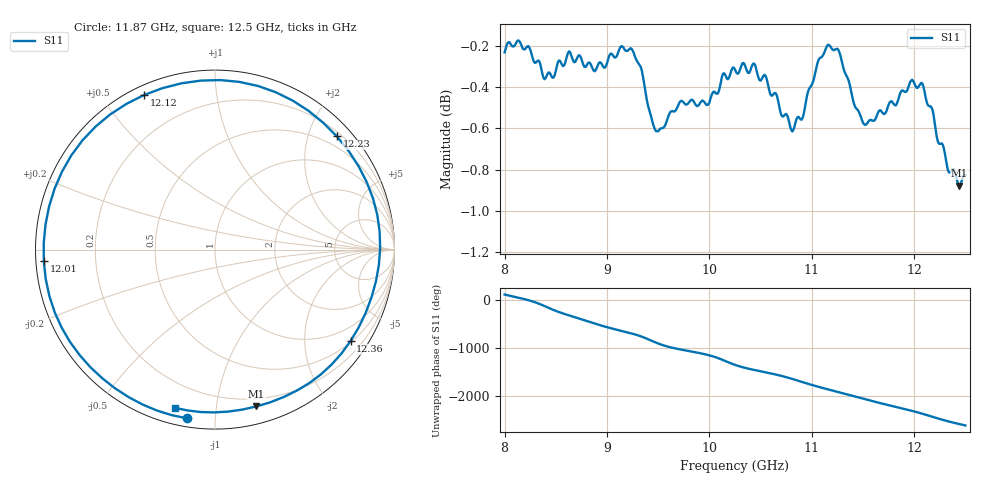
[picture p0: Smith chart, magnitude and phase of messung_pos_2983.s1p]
#  HZ  S  RI  R  50.00
! Rohde & Schwarz Vector Network Analyzer
! Rohde-Schwarz,ZNA43-4Port,1332450044101932,2.92
! Created: UTC 6/1/2026, 11:34:59 AM
! freq[Hz]  re:S11  im:S11
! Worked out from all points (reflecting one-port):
!   451 points, 8 GHz to 12.5 GHz, reference 50 ohm
!   lowest |S11| = -0.9 dB at 12.44 GHz (marker M1), VSWR 19.80, Z = 6.75 - j64.4 ohm
!   phase of S11 starts at 109 deg and turns -2733 deg over the sweep
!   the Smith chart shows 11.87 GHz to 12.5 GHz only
!   S11 on the Smith chart (normalised r, x): 11.87 GHz: 0.04, -0.84; 12.01 GHz: 0.02, -0.03; 12.12 GHz: 0.04, +0.64; 12.23 GHz: 0.28, +2.51; 12.36 GHz: 0.53, -3.19; 12.5 GHz: 0.08, -0.77
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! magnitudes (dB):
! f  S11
! 8 GHz  -0.2
! 8.23 GHz  -0.2
! 8.39 GHz  -0.4
! 8.57 GHz  -0.3
! 8.63 GHz  -0.2
! 8.88 GHz  -0.3
! 9.13 GHz  -0.2
! 9.32 GHz  -0.3
! 9.48 GHz  -0.6
! 9.69 GHz  -0.5
! 9.98 GHz  -0.5
! 10.25 GHz  -0.3
! 10.44 GHz  -0.3
! 10.82 GHz  -0.6
! 10.91 GHz  -0.5
! 11.06 GHz  -0.3
! 11.16 GHz  -0.2
! 11.26 GHz  -0.2
! 11.38 GHz  -0.4
! 11.52 GHz  -0.6
! 11.87 GHz  -0.4
! 11.94 GHz  -0.4
! 12.01 GHz  -0.4
! 12.12 GHz  -0.5
! 12.23 GHz  -0.7
! 12.36 GHz  -0.8
! 12.44 GHz  -0.9
! 12.5 GHz  -0.8
